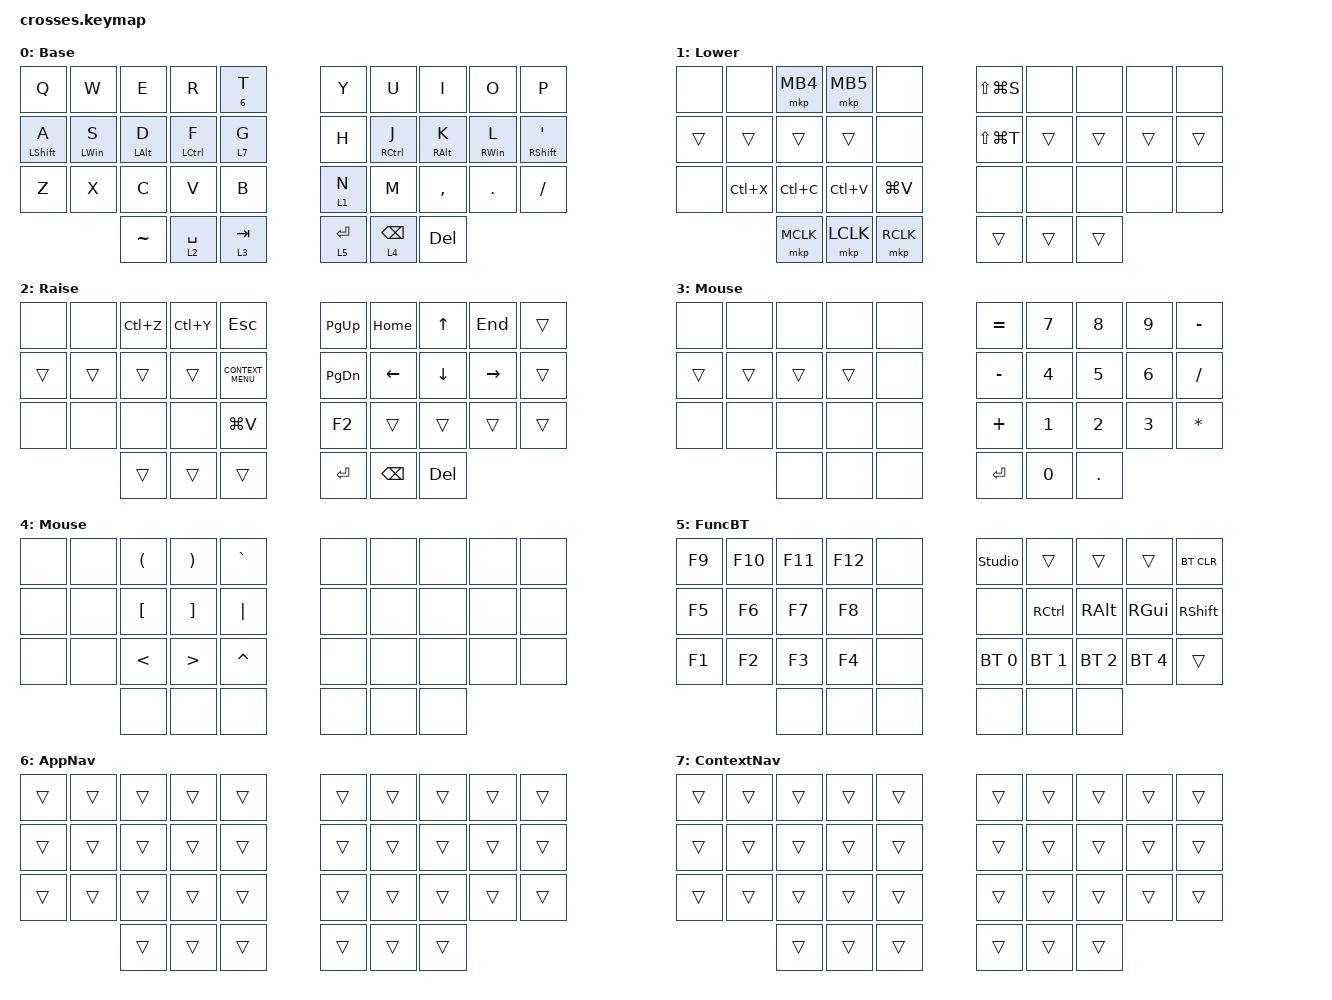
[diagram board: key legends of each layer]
#include <input/processors/zmk-input-processor-keybind.dtsi>
#include <zephyr/dt-bindings/input/input-event-codes.h>
#include <dt-bindings/zmk/input_transform.h>
#include <behaviors.dtsi>
#include <dt-bindings/zmk/bt.h>
#include <dt-bindings/zmk/keys.h>
#include <dt-bindings/zmk/pointing.h>

/ {
    chosen { zmk,physical-layout = &gggw_crosses_36_layout; };

    /*
     * ============================================================
     * CUSTOM INPUT PROCESSORS
     * ============================================================
     */

    input_processors {
        /*
         * Horizontal scroll gate.
         *
         * Only affects horizontal-wheel events.
         * No track-remainders property is used intentionally.
         *
         * With a 1:4 scale, small accidental horizontal movement
         * is discarded instead of accumulating into a scroll event.
         */

        horizontal_scroll_gate: horizontal_scroll_gate {
            compatible = "zmk,input-processor-scaler";
            #input-processor-cells = <2>;
            type = <INPUT_EV_REL>;
            codes = <INPUT_REL_HWHEEL>;
        };
    };

    /*
     * ============================================================
     * TRACKBALL NAVIGATION PROCESSORS
     * ============================================================
     */
    /*
     * NAV
     *
     * Right trackball while holding Space:
     *   Right = Right Arrow
     *   Left  = Left Arrow
     *   Up    = Up Arrow
     *   Down  = Down Arrow
     *
     * Hold Ctrl manually when word / edge navigation is wanted.
     */

    text_nav: text_nav {
        compatible = "zmk,input-processor-keybind";
        #input-processor-cells = <0>;
        track_remainders;
        bindings =
            <&kp RIGHT_ARROW>,
            <&kp LEFT_ARROW>,
            <&kp UP_ARROW>,
            <&kp DOWN_ARROW>;

        tick = <90>;
        wait-ms = <0>;
        tap-ms = <10>;
    };

    /*
     * APP NAV
     *
     * Right trackball while holding T:
     *   Right = Tab
     *   Left  = Shift+Tab
     *
     * T also holds Left Alt, producing:
     *   Right = Alt+Tab
     *   Left  = Alt+Shift+Tab
     */

    app_nav: app_nav {
        compatible = "zmk,input-processor-keybind";
        #input-processor-cells = <0>;
        track_remainders;
        bindings = <&kp TAB>, <&kp LS(TAB)>, <&none>, <&none>;

        tick = <90>;
        wait-ms = <0>;
        tap-ms = <10>;
    };

    /*
     * CONTEXT NAV
     *
     * Right trackball while holding G:
     *   Right = Ctrl+Page Down
     *   Left  = Ctrl+Page Up
     */

    context_nav: context_nav {
        compatible = "zmk,input-processor-keybind";
        #input-processor-cells = <0>;
        track_remainders;
        bindings = <&kp LC(PAGE_DOWN)>, <&kp LC(PAGE_UP)>, <&none>, <&none>;

        tick = <90>;
        wait-ms = <0>;
        tap-ms = <10>;
    };

    /*
     * VOLUME
     *
     * Left trackball while holding Func / BT:
     *   Down = Volume Down
     *   Up   = Volume Up
     */

    volume_nav: volume_nav {
        compatible = "zmk,input-processor-keybind";
        #input-processor-cells = <0>;
        track_remainders;
        bindings = <&none>, <&none>, <&kp C_VOL_DN>, <&kp C_VOL_UP>;

        tick = <45>;
        wait-ms = <0>;
        tap-ms = <5>;
    };

    /*
     * ============================================================
     * MACROS
     * ============================================================
     */

    macros {
        /*
         * APP NAV HOLD
         *
         * Parameter = App Nav layer number.
         *
         * Hold:
         *   Activate the supplied layer.
         *   Hold Left Alt.
         *
         * Release:
         *   Release Left Alt.
         *   Deactivate the supplied layer.
         */

        app_hold: app_hold {
            compatible = "zmk,behavior-macro-one-param";
            #binding-cells = <1>;
            wait-ms = <0>;
            tap-ms = <0>;
            bindings =
                <&macro_param_1to1>,
                <&macro_press>,
                <&mo MACRO_PLACEHOLDER>,
                <&macro_press>,
                <&kp LALT>,
                <&macro_pause_for_release>,
                <&macro_release>,
                <&kp LALT &macro_param_1to1>,
                <&macro_release>,
                <&mo MACRO_PLACEHOLDER>;
        };
    };

    /*
     * ============================================================
     * KEY BEHAVIORS
     * ============================================================
     */

    behaviors {
        as: auto_shift {
            compatible = "zmk,behavior-hold-tap";
            #binding-cells = <2>;
            tapping_term_ms = <200>;
            quick_tap_ms = <0>;
            flavor = "tap-preferred";
            bindings = <&kp>, <&kp>;
        };

        Tap_Pref_250: Tap_Pref_250 {
            compatible = "zmk,behavior-hold-tap";
            label = "TAP_PREF_250";
            bindings = <&kp>, <&kp>;

            #binding-cells = <2>;
            tapping-term-ms = <250>;
            flavor = "tap-preferred";
        };

        Tap_Pref_275: Tap_Pref_275 {
            compatible = "zmk,behavior-hold-tap";
            label = "TAP_PREF_275";
            bindings = <&kp>, <&kp>;

            #binding-cells = <2>;
            flavor = "tap-preferred";
            tapping-term-ms = <275>;
        };

        /*
         * T
         *
         * Tap  = T
         * Hold = App Nav layer + Left Alt
         */

        app_nav_tap: app_nav_tap {
            compatible = "zmk,behavior-hold-tap";
            #binding-cells = <2>;
            tapping-term-ms = <200>;
            flavor = "tap-preferred";
            bindings = <&app_hold>, <&kp>;
        };

        Tap_Pref_200: Tap_Pref_200 {
            compatible = "zmk,behavior-hold-tap";
            label = "TAP_PREF_200";
            bindings = <&kp>, <&kp>;

            #binding-cells = <2>;
            tapping-term-ms = <200>;
            flavor = "tap-preferred";
        };
    };

    /*
     * ============================================================
     * COMBOS
     * ============================================================
     */

    combos {
        compatible = "zmk,combos";

        underscore {
            bindings = <&kp MINUS>;
            key-positions = <26 27>;
        };

        colon {
            bindings = <&kp SEMICOLON>;
            key-positions = <27 28>;
        };

        slash {
            bindings = <&kp NON_US_BACKSLASH>;
            key-positions = <28 29>;
        };
    };

    /*
     * ============================================================
     * KEYMAP
     *
     * Layer 0 = Base
     * Layer 1 = Mouse
     * Layer 2 = Nav
     * Layer 3 = Num
     * Layer 4 = Bracket
     * Layer 5 = Func / BT
     * Layer 6 = App Nav
     * Layer 7 = Context Nav
     * ============================================================
     */

    keymap {
        compatible = "zmk,keymap";

        /*
         * LAYER 0
         * BASE
         */

        default_layer {
            display-name = "Base";
            bindings = <
&kp Q                       &kp W                     &kp E                     &kp R                  &app_nav_tap 6 T  &kp Y      &kp U                          &kp I                      &kp O                      &kp P
&Tap_Pref_200 LEFT_SHIFT A  &Tap_Pref_250 LEFT_WIN S  &Tap_Pref_250 LEFT_ALT D  &Tap_Pref_250 LCTRL F  &lt 7 G           &kp H      &Tap_Pref_250 RIGHT_CONTROL J  &Tap_Pref_250 RIGHT_ALT K  &Tap_Pref_250 RIGHT_WIN L  &Tap_Pref_200 RIGHT_SHIFT SQT
&kp Z                       &kp X                     &kp C                     &kp V                  &kp B             &lt 1 N    &kp M                          &kp COMMA                  &kp DOT                    &kp FSLH
                                                      &kp TILDE                 &lt 2 SPACE            &lt 3 TAB         &lt 5 RET  &lt 4 BACKSPACE                &kp DEL
            >;
        };

        /*
         * LAYER 1
         * MOUSE
         */

        Mouse_Layer {
            display-name = "Lower";
            bindings = <
&none   &none      &mkp MB4   &mkp MB5   &none      &kp LS(LG(S))  &none   &none   &none   &none
&trans  &trans     &trans     &trans     &none      &kp LS(LG(T))  &trans  &trans  &trans  &trans
&none   &kp LC(X)  &kp LC(C)  &kp LC(V)  &kp LG(V)  &none          &none   &none   &none   &none
                   &mkp MCLK  &mkp LCLK  &mkp RCLK  &trans         &trans  &trans
            >;
        };

        /*
         * LAYER 2
         * NAV
         */

        Nav_Layer {
            display-name = "Raise";
            bindings = <
&none   &none   &kp LC(Z)  &kp LC(Y)  &kp ESC             &kp PG_UP      &kp HOME        &kp UP_ARROW  &kp END          &trans
&trans  &trans  &trans     &trans     &kp K_CONTEXT_MENU  &kp PAGE_DOWN  &kp LEFT_ARROW  &kp DOWN      &kp RIGHT_ARROW  &trans
&none   &none   &none      &none      &kp LG(V)           &kp F2         &trans          &trans        &trans           &trans
                &trans     &trans     &trans              &kp RET        &kp BACKSPACE   &kp DEL
            >;
        };

        /*
         * LAYER 3
         * NUM
         */

        Num_Layer {
            display-name = "Mouse";
            bindings = <
&none   &none   &none   &none   &none  &kp EQUAL  &kp N7  &kp N8   &kp N9  &kp MINUS
&trans  &trans  &trans  &trans  &none  &kp MINUS  &kp N4  &kp N5   &kp N6  &kp FSLH
&none   &none   &none   &none   &none  &kp PLUS   &kp N1  &kp N2   &kp N3  &kp STAR
                &none   &none   &none  &kp RET    &kp N0  &kp DOT
            >;
        };

        /*
         * LAYER 4
         * BRACKET
         */

        Bracket_Layer {
            display-name = "Mouse";
            bindings = <
&none  &none  &kp LPAR  &kp RPAR  &kp GRAVE  &none  &none  &none  &none  &none
&none  &none  &kp LBKT  &kp RBKT  &kp PIPE   &none  &none  &none  &none  &none
&none  &none  &kp LT    &kp GT    &kp CARET  &none  &none  &none  &none  &none
              &none     &none     &none      &none  &none  &none
            >;
        };

        /*
         * LAYER 5
         * FUNC / BT
         */

        Func_BT_Layer {
            display-name = "FuncBT";
            bindings = <
&kp F9  &kp F10  &kp F11  &kp F12  &none  &studio_unlock  &trans             &trans         &trans         &bt BT_CLR
&kp F5  &kp F6   &kp F7   &kp F8   &none  &none           &kp RIGHT_CONTROL  &kp RIGHT_ALT  &kp RIGHT_GUI  &kp RIGHT_SHIFT
&kp F1  &kp F2   &kp F3   &kp F4   &none  &bt BT_SEL 0    &bt BT_SEL 1       &bt BT_SEL 2   &bt BT_SEL 4   &trans
                 &none    &none    &none  &none           &none              &none
            >;
        };

        /*
         * LAYER 6
         * APP NAV
         */

        app_nav_layer {
            display-name = "AppNav";
            bindings = <
&trans  &trans  &trans  &trans  &trans  &trans  &trans  &trans  &trans  &trans
&trans  &trans  &trans  &trans  &trans  &trans  &trans  &trans  &trans  &trans
&trans  &trans  &trans  &trans  &trans  &trans  &trans  &trans  &trans  &trans
                &trans  &trans  &trans  &trans  &trans  &trans
            >;
        };

        /*
         * LAYER 7
         * CONTEXT NAV
         */

        context_nav_layer {
            display-name = "ContextNav";
            bindings = <
&trans  &trans  &trans  &trans  &trans  &trans  &trans  &trans  &trans  &trans
&trans  &trans  &trans  &trans  &trans  &trans  &trans  &trans  &trans  &trans
&trans  &trans  &trans  &trans  &trans  &trans  &trans  &trans  &trans  &trans
                &trans  &trans  &trans  &trans  &trans  &trans
            >;
        };
    };
};

/*
 * ============================================================
 * LEFT TRACKBALL
 * ============================================================
 *
 * DEFAULT
 *   Scroll.
 *
 * DIRECTION
 *   Horizontal scrolling is inverted.
 *   Vertical scrolling is unchanged.
 *
 * HORIZONTAL SCROLL GATE
 *   Horizontal movement is scaled 1:3 without retaining
 *   remainders.
 *
 *   Small accidental sideways movements are suppressed.
 *
 *   To adjust:
 *     1 2 = easier horizontal scrolling
 *     1 3 = current setting
 *     1 4 = harder horizontal scrolling
 *
 * FUNC / BT LAYER 5
 *   Vertical movement controls volume.
 *
 * BLE rate limiting for the peripheral trackball remains handled
 * by crosses_left.overlay.
 */

&trackball_peripheral_listener {
    input-processors =
        <&zip_xy_to_scroll_mapper>,
        <&zip_scroll_transform INPUT_TRANSFORM_X_INVERT>,
        <&horizontal_scroll_gate 1 4>,
        <&zip_scroll_scaler 1 2>;

    volume_navigation {
        layers = <5>;
        input-processors = <&volume_nav>;
    };
};

/*
 * ============================================================
 * RIGHT TRACKBALL
 * ============================================================
 *
 * DEFAULT
 *   Mouse pointer.
 *
 * AUTOMOUSE
 *   Movement activates Mouse layer 1 for 750 ms.
 *
 * NAV LAYER 2
 *   Hold Space:
 *     Right = Right Arrow
 *     Left  = Left Arrow
 *     Up    = Up Arrow
 *     Down  = Down Arrow
 *
 * APP NAV LAYER 6
 *   Hold T:
 *     Left Alt remains held.
 *     Right = Alt+Tab
 *     Left  = Alt+Shift+Tab
 *
 * CONTEXT NAV LAYER 7
 *   Hold G:
 *     Right = Ctrl+Page Down
 *     Left  = Ctrl+Page Up
 */

&trackball_central_listener {
    input-processors = <&zip_temp_layer 1 750>, <&zip_ble_report_rate_limit>;

    text_navigation {
        layers = <2>;
        input-processors = <&text_nav>;
    };

    app_navigation {
        layers = <6>;
        input-processors = <&app_nav>;
    };

    context_navigation {
        layers = <7>;
        input-processors = <&context_nav>;
    };
};
